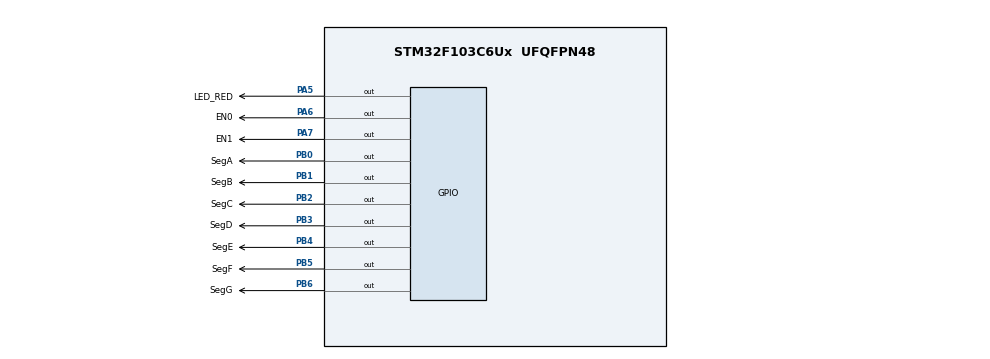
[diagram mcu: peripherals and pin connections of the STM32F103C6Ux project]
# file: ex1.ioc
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Mcu.Family=STM32F1
Mcu.Name=STM32F103C6Ux
Mcu.Package=UFQFPN48
NVIC.PriorityGroup=NVIC_PRIORITYGROUP_4
NVIC.TIM2_IRQn=true\:0\:0\:false\:false\:true\:true\:true
PA5.GPIO_Label=LED_RED
PA5.Signal=GPIO_Output
PA6.GPIO_Label=EN0
PA6.Signal=GPIO_Output
PA7.GPIO_Label=EN1
PA7.Signal=GPIO_Output
PB0.GPIO_Label=SegA
PB0.Signal=GPIO_Output
PB1.GPIO_Label=SegB
PB1.Signal=GPIO_Output
PB2.GPIO_Label=SegC
PB2.Signal=GPIO_Output
PB3.GPIO_Label=SegD
PB3.Signal=GPIO_Output
PB4.GPIO_Label=SegE
PB4.Signal=GPIO_Output
PB5.GPIO_Label=SegF
PB5.Signal=GPIO_Output
PB6.GPIO_Label=SegG
PB6.Signal=GPIO_Output
ProjectManager.HeapSize=0x200
ProjectManager.StackSize=0x400
ProjectManager.TargetToolchain=STM32CubeIDE
RCC.APB1Freq_Value=8000000
RCC.APB2Freq_Value=8000000
TIM2.Period=9
TIM2.Prescaler=7999
VP_SYS_VS_ND.Mode=No_Debug
VP_TIM2_VS_ClockSourceINT.Mode=Internal
board=custom

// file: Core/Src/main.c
/* USER CODE BEGIN Header */
/**
  ******************************************************************************
  * @file           : main.c
  * @brief          : Main program body
  ******************************************************************************
  * @attention
  *
  * <h2><center>&copy; Copyright (c) 2023 STMicroelectronics.
  * All rights reserved.</center></h2>
  *
  * This software component is licensed by ST under BSD 3-Clause license,
  * the "License"; You may not use this file except in compliance with the
  * License. You may obtain a copy of the License at:
  *                        opensource.org/licenses/BSD-3-Clause
  *
  ******************************************************************************
  */
/* USER CODE END Header */
#include "main.h"

/* USER CODE BEGIN Includes */
#include "sofware_timer.h"
#include "myLib.h"
/* USER CODE END Includes */

TIM_HandleTypeDef htim2;

void SystemClock_Config(void);
static void MX_GPIO_Init(void);
static void MX_TIM2_Init(void);

int main(void)
{

  /* MCU Configuration--------------------------------------------------------*/

  /* Reset of all peripherals, Initializes the Flash interface and the Systick. */
  HAL_Init();

  /* Configure the system clock */
  SystemClock_Config();

  /* Initialize all configured peripherals */
  MX_GPIO_Init();
  MX_TIM2_Init();
  /* USER CODE BEGIN 2 */
  HAL_TIM_Base_Start_IT (& htim2 );
  /* USER CODE END 2 */

  /* Infinite loop */
  /* USER CODE BEGIN WHILE */
  setTimer(0, 100); //index 0:LED;1:7SEG
  setTimer(1, 50);
  uint8_t state = 0; // 0:LED 1; 1: LED 2
  while (1)
  {
	  if (timerFlag[0] == 1) {
		  setTimer(0, 100);
		  HAL_GPIO_TogglePin(GPIOA, LED_RED_Pin);
	  }
	  if (timerFlag[1] == 1) {
		  setTimer(1, 50);
		  switch (state) {
		  	  case 0:
		  		  state = 1;
		  		  display7SEG1(1);
		  		  HAL_GPIO_WritePin(GPIOA, EN0_Pin, RESET);
		  		  HAL_GPIO_WritePin(GPIOA, EN1_Pin, SET);
		  		  break;
		  	  case 1:
		  		  state = 0;
		  		  display7SEG1(2);
		  		  HAL_GPIO_WritePin(GPIOA, EN0_Pin, SET);
		  		  HAL_GPIO_WritePin(GPIOA, EN1_Pin, RESET);
		  		  break;
		  	  default:
		  		  break;
		   }
	  }
    /* USER CODE END WHILE */

  }
}

void SystemClock_Config(void)
{
  RCC_OscInitTypeDef RCC_OscInitStruct = {0};
  RCC_ClkInitTypeDef RCC_ClkInitStruct = {0};

  /** Initializes the RCC Oscillators according to the specified parameters
  * in the RCC_OscInitTypeDef structure.
  */
  RCC_OscInitStruct.OscillatorType = RCC_OSCILLATORTYPE_HSI;
  RCC_OscInitStruct.HSIState = RCC_HSI_ON;
  RCC_OscInitStruct.HSICalibrationValue = RCC_HSICALIBRATION_DEFAULT;
  RCC_OscInitStruct.PLL.PLLState = RCC_PLL_NONE;
  if (HAL_RCC_OscConfig(&RCC_OscInitStruct) != HAL_OK)
  {
    Error_Handler();
  }
  /** Initializes the CPU, AHB and APB buses clocks
  */
  RCC_ClkInitStruct.ClockType = RCC_CLOCKTYPE_HCLK|RCC_CLOCKTYPE_SYSCLK
                              |RCC_CLOCKTYPE_PCLK1|RCC_CLOCKTYPE_PCLK2;
  RCC_ClkInitStruct.SYSCLKSource = RCC_SYSCLKSOURCE_HSI;
  RCC_ClkInitStruct.AHBCLKDivider = RCC_SYSCLK_DIV1;
  RCC_ClkInitStruct.APB1CLKDivider = RCC_HCLK_DIV1;
  RCC_ClkInitStruct.APB2CLKDivider = RCC_HCLK_DIV1;

  if (HAL_RCC_ClockConfig(&RCC_ClkInitStruct, FLASH_LATENCY_0) != HAL_OK)
  {
    Error_Handler();
  }
}

static void MX_TIM2_Init(void)
{

  TIM_ClockConfigTypeDef sClockSourceConfig = {0};
  TIM_MasterConfigTypeDef sMasterConfig = {0};

  htim2.Instance = TIM2;
  htim2.Init.Prescaler = 7999;
  htim2.Init.CounterMode = TIM_COUNTERMODE_UP;
  htim2.Init.Period = 9;
  htim2.Init.ClockDivision = TIM_CLOCKDIVISION_DIV1;
  htim2.Init.AutoReloadPreload = TIM_AUTORELOAD_PRELOAD_DISABLE;
  if (HAL_TIM_Base_Init(&htim2) != HAL_OK)
  {
    Error_Handler();
  }
  sClockSourceConfig.ClockSource = TIM_CLOCKSOURCE_INTERNAL;
  if (HAL_TIM_ConfigClockSource(&htim2, &sClockSourceConfig) != HAL_OK)
  {
    Error_Handler();
  }
  sMasterConfig.MasterOutputTrigger = TIM_TRGO_RESET;
  sMasterConfig.MasterSlaveMode = TIM_MASTERSLAVEMODE_DISABLE;
  if (HAL_TIMEx_MasterConfigSynchronization(&htim2, &sMasterConfig) != HAL_OK)
  {
    Error_Handler();
  }

}

static void MX_GPIO_Init(void)
{
  GPIO_InitTypeDef GPIO_InitStruct = {0};

  /* GPIO Ports Clock Enable */
  __HAL_RCC_GPIOA_CLK_ENABLE();
  __HAL_RCC_GPIOB_CLK_ENABLE();

  /*Configure GPIO pin Output Level */
  HAL_GPIO_WritePin(GPIOA, LED_RED_Pin|EN0_Pin|EN1_Pin, GPIO_PIN_RESET);

  /*Configure GPIO pin Output Level */
  HAL_GPIO_WritePin(GPIOB, SegA_Pin|SegB_Pin|SegC_Pin|SegD_Pin
                          |SegE_Pin|SegF_Pin|SegG_Pin, GPIO_PIN_RESET);

  /*Configure GPIO pins : LED_RED_Pin EN0_Pin EN1_Pin */
  GPIO_InitStruct.Pin = LED_RED_Pin|EN0_Pin|EN1_Pin;
  GPIO_InitStruct.Mode = GPIO_MODE_OUTPUT_PP;
  GPIO_InitStruct.Pull = GPIO_NOPULL;
  GPIO_InitStruct.Speed = GPIO_SPEED_FREQ_LOW;
  HAL_GPIO_Init(GPIOA, &GPIO_InitStruct);

  /*Configure GPIO pins : SegA_Pin SegB_Pin SegC_Pin SegD_Pin
                           SegE_Pin SegF_Pin SegG_Pin */
  GPIO_InitStruct.Pin = SegA_Pin|SegB_Pin|SegC_Pin|SegD_Pin
                          |SegE_Pin|SegF_Pin|SegG_Pin;
  GPIO_InitStruct.Mode = GPIO_MODE_OUTPUT_PP;
  GPIO_InitStruct.Pull = GPIO_NOPULL;
  GPIO_InitStruct.Speed = GPIO_SPEED_FREQ_LOW;
  HAL_GPIO_Init(GPIOB, &GPIO_InitStruct);

}

/* USER CODE BEGIN 4 */
void HAL_TIM_PeriodElapsedCallback ( TIM_HandleTypeDef * htim ) {
	timerRun(0);
	timerRun(1);
}
/* USER CODE END 4 */

void Error_Handler(void)
{
  __disable_irq();
  while (1)
  {
  }
}

/************************ (C) COPYRIGHT STMicroelectronics *****END OF FILE****/
